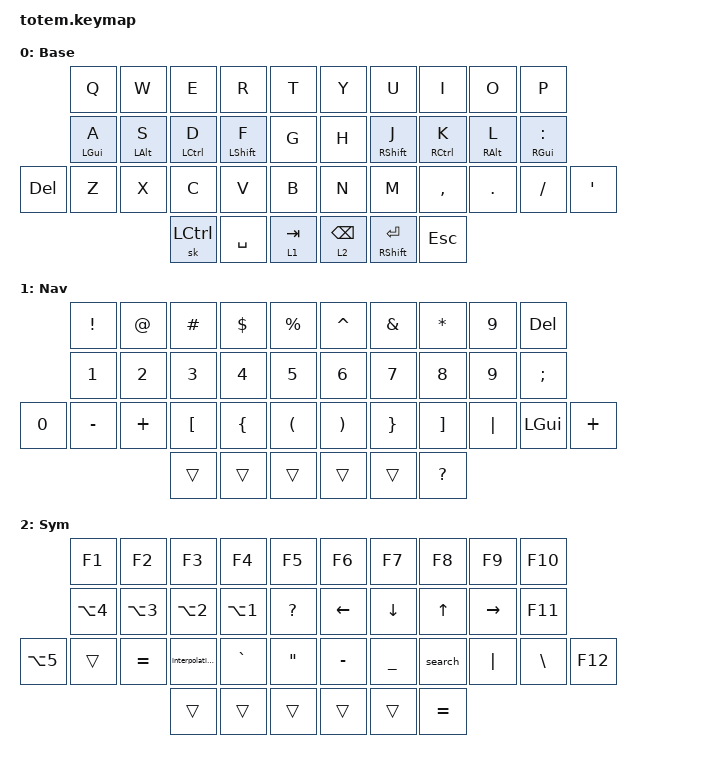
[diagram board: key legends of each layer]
//
//                                                        ▀▀▀▀▀     ▀▀▀▀▀          ▀▀█▀▀
//                                                        ▄▀▀▀▄  ▄  ▄▀▀▀▄  ▄  ▄▀▀▀▄  █  ▄▀▀▀▄
//                                                        █   █  █  █   █  █  █   █  █  █   █
//                                                         ▀▀▀   █   ▀▀▀   █   ▀▀▀   ▀   ▀▀▀
//                                                               █      ▄▄▄█▄▄▄    █   █  
//                                                               ▀      █  █  █     █▄█
//                                                             ▀▀▀▀▀    █  █  █      ▀
//                                                                      ▀  ▀  ▀
//
// ▄▄▄▄▄▄▄▄▄▄▄▄▄▄▄▄▄▄▄▄▄▄▄▄▄▄▄▄▄▄▄▄▄▄▄▄▄▄▄▄▄▄▄▄▄▄▄▄▄▄▄▄▄▄▄▄▄▄▄▄▄▄▄▄▄▄▄▄▄▄▄▄▄▄▄▄▄▄▄▄▄▄▄▄▄▄▄▄▄▄▄▄▄▄▄▄▄▄▄▄▄▄▄▄▄▄▄▄▄▄▄▄▄▄▄▄▄▄▄▄▄▄▄▄▄▄▄▄▄▄▄▄▄▄▄▄▄▄▄▄▄▄▄▄▄▄▄▄▄

#include <behaviors.dtsi>
#include <dt-bindings/zmk/keys.h>

#define Base        0
#define Media       1
#define Nav         2
#define Mouse       3
#define Sym         4
#define Num         5
#define Fun         6
#define Button      7
#define Game        8
#define Gameplus    9

&mt {
    quick-tap-ms = <100>;
    global-quick-tap;
    flavor = "tap-preferred";
    tapping-term-ms = <170>;
};

&lt {
    tapping-term-ms = <240>;
    flavor = "balanced";
    quick-tap-ms = <150>;
};

/ {
    behaviors {
        hm: homerow_mods {
            compatible = "zmk,behavior-hold-tap";
            label = "HOMEROW_MODS";
            #binding-cells = <2>;
            flavor = "tap-preferred";
            tapping-term-ms = <200>;
            quick-tap-ms = <125>;
            global-quick-tap;
            bindings = <&kp>, <&kp>;
        };
    };

    combos { compatible = "zmk,combos"; };

    macros {
        search: search {
            compatible = "zmk,behavior-macro";
            #binding-cells = <0>;
            bindings = <&kp COLON &kp PRCNT &kp S &kp FSLH>;
            label = "SEARCH";
        };

        arrow: arrow {
            compatible = "zmk,behavior-macro";
            #binding-cells = <0>;
            bindings = <&kp LPAR &kp RPAR &kp EQUAL &kp GT &kp LEFT_BRACE &kp RIGHT_BRACE>;
            label = "ARROW";
        };

        interpolation: interpolation {
            compatible = "zmk,behavior-macro";
            #binding-cells = <0>;
            bindings = <&kp DLLR &kp LEFT_BRACE &kp RBRC &kp RIGHT &kp RIGHT>;
            label = "INTERPOLATION";
        };
    };

    keymap {
        compatible = "zmk,keymap";

        Base {
            label = "Base";
            bindings = <
            &kp Q       &kp W       &kp E        &kp R         &kp T        &kp Y            &kp U                  &kp I        &kp O       &kp P
            &hm LGUI A  &hm LALT S  &hm LCTRL D  &hm LSHIFT F  &kp G        &kp H            &hm RSHFT J            &hm RCTRL K  &hm RALT L  &hm RGUI COLON
&kp DELETE  &kp Z       &kp X       &kp C        &kp V         &kp B        &kp N            &kp M                  &kp COMMA    &kp DOT     &kp SLASH       &kp APOSTROPHE
                                    &sk LCTRL    &kp SPACE     &lt 1 TAB    &lt 2 BACKSPACE  &mt RIGHT_SHIFT ENTER  &kp ESCAPE
            >;
        };

        Nav {
            label = "Nav";
            bindings = <
        &kp EXCLAMATION  &kp AT_SIGN   &kp HASH          &kp DOLLAR      &kp PERCENT    &kp CARET     &kp AMPERSAND    &kp ASTERISK       &kp NUMBER_9  &kp DELETE
        &kp NUMBER_1     &kp NUMBER_2  &kp NUMBER_3      &kp NUMBER_4    &kp N5         &kp NUMBER_6  &kp N7           &kp N8             &kp N9        &kp SEMICOLON
&kp N0  &kp MINUS        &kp PLUS      &kp LEFT_BRACKET  &kp LEFT_BRACE  &kp LPAR       &kp RPAR      &kp RIGHT_BRACE  &kp RIGHT_BRACKET  &kp PIPE      &kp LGUI       &kp PLUS
                                       &trans            &trans          &trans         &trans        &trans           &kp QUESTION
            >;
        };

        Sym {
            label = "Sym";
            bindings = <
            &kp F1            &kp F2            &kp F3            &kp F4            &kp F5               &kp F6     &kp F7     &kp F8        &kp F9     &kp F10
            &kp LA(NUMBER_4)  &kp LA(NUMBER_3)  &kp LA(NUMBER_2)  &kp LA(NUMBER_1)  &kp QUESTION         &kp LEFT   &kp DOWN   &kp UP_ARROW  &kp RIGHT  &kp F11
&kp LA(N5)  &trans            &kp EQUAL         &interpolation    &kp GRAVE         &kp DOUBLE_QUOTES    &kp MINUS  &kp UNDER  &search       &kp PIPE   &kp BACKSLASH  &kp F12
                                                &trans            &trans            &trans               &trans     &trans     &kp EQUAL
            >;
        };
    };
};
